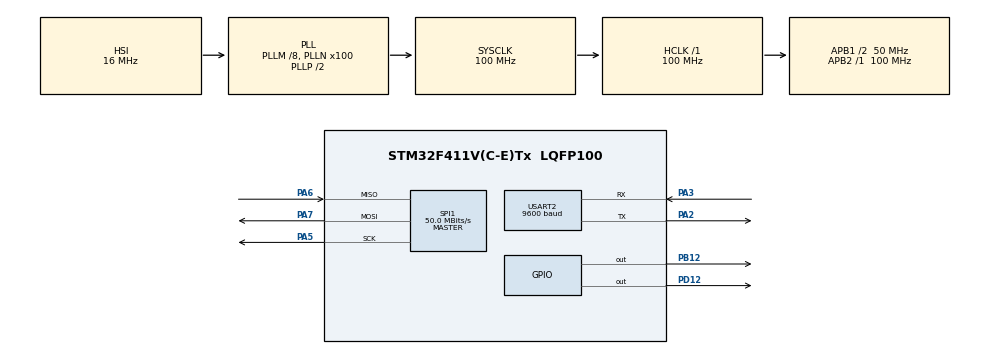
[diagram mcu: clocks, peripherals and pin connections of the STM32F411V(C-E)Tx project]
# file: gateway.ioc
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Mcu.Family=STM32F4
Mcu.Name=STM32F411V(C-E)Tx
Mcu.Package=LQFP100
NVIC.PriorityGroup=NVIC_PRIORITYGROUP_4
PA13.Mode=Trace_Asynchronous_SW
PA13.Signal=SYS_JTMS-SWDIO
PA14.Mode=Trace_Asynchronous_SW
PA14.Signal=SYS_JTCK-SWCLK
PA2.Mode=Asynchronous
PA2.Signal=USART2_TX
PA3.Mode=Asynchronous
PA3.Signal=USART2_RX
PA5.Mode=Full_Duplex_Master
PA5.Signal=SPI1_SCK
PA6.Mode=Full_Duplex_Master
PA6.Signal=SPI1_MISO
PA7.Mode=Full_Duplex_Master
PA7.Signal=SPI1_MOSI
PB12.Signal=GPIO_Output
PB3.Mode=Trace_Asynchronous_SW
PB3.Signal=SYS_JTDO-SWO
PD12.Signal=GPIO_Output
PH0\ -\ OSC_IN.Mode=HSE-External-Oscillator
PH0\ -\ OSC_IN.Signal=RCC_OSC_IN
PH1\ -\ OSC_OUT.Mode=HSE-External-Oscillator
PH1\ -\ OSC_OUT.Signal=RCC_OSC_OUT
ProjectManager.HeapSize=0x200
ProjectManager.StackSize=0x400
ProjectManager.TargetToolchain=STM32CubeIDE
RCC.48MHZClocksFreq_Value=50000000
RCC.AHBFreq_Value=100000000
RCC.APB1CLKDivider=RCC_HCLK_DIV2
RCC.APB1Freq_Value=50000000
RCC.APB1TimFreq_Value=100000000
RCC.APB2Freq_Value=100000000
RCC.APB2TimFreq_Value=100000000
RCC.CortexFreq_Value=100000000
RCC.HCLKFreq_Value=100000000
RCC.HSE_VALUE=8000000
RCC.HSI_VALUE=16000000
RCC.LSE_VALUE=32768
RCC.PLLM=8
RCC.PLLN=100
RCC.SYSCLKFreq_VALUE=100000000
RCC.SYSCLKSource=RCC_SYSCLKSOURCE_PLLCLK
RCC.VCOOutputFreq_Value=200000000
SPI1.CalculateBaudRate=50.0 MBits/s
SPI1.Direction=SPI_DIRECTION_2LINES
SPI1.Mode=SPI_MODE_MASTER
SPI1.VirtualType=VM_MASTER
USART2.BaudRate=9600
USART2.VirtualMode=VM_ASYNC
board=custom

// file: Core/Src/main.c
/* USER CODE BEGIN Header */
/**
  ******************************************************************************
  * @file           : main.c
  * @brief          : Main program body
  ******************************************************************************
  * @attention
  *
  * Copyright (c) 2024 STMicroelectronics.
  * All rights reserved.
  *
  * This software is licensed under terms that can be found in the LICENSE file
  * in the root directory of this software component.
  * If no LICENSE file comes with this software, it is provided AS-IS.
  *
  ******************************************************************************
  */
/* USER CODE END Header */
#include "main.h"

/* USER CODE BEGIN Includes */
#include <stdio.h>
#include <string.h>
#include "socket.h"
#include "wizchip_conf.h"
/* USER CODE END Includes */

SPI_HandleTypeDef hspi1;

UART_HandleTypeDef huart2;

void SystemClock_Config(void);
static void MX_GPIO_Init(void);
static void MX_SPI1_Init(void);
static void MX_USART2_UART_Init(void);

/* USER CODE BEGIN 0 */

void cs_sel() {
	HAL_GPIO_WritePin(GPIOD, GPIO_PIN_12, GPIO_PIN_RESET); //CS LOW
	// printf("\t-----start----- \n");
}

void cs_desel() {
	HAL_GPIO_WritePin(GPIOD, GPIO_PIN_12, GPIO_PIN_SET); //CS HIGH
	// printf("\t-----end----- \n");
}

uint8_t spi_rb(void) {
	uint8_t rbuf;
	HAL_SPI_Receive(&hspi1, &rbuf, 1, HAL_MAX_DELAY);
	printf("\t%s: <- 0x%.2x \n", __FUNCTION__, rbuf);
	return rbuf;
}

void spi_wb(uint8_t b) {
	HAL_SPI_Transmit(&hspi1, &b, 1, HAL_MAX_DELAY);
	printf("\t%s: -> 0x%.2x \n", __FUNCTION__, b);
}

int __io_putchar(uint8_t ch) {
    return ITM_SendChar(ch);
}
/* USER CODE END 0 */

int main(void)
{

  /* MCU Configuration--------------------------------------------------------*/

  /* Reset of all peripherals, Initializes the Flash interface and the Systick. */
  HAL_Init();

  /* Configure the system clock */
  SystemClock_Config();

  /* USER CODE BEGIN SysInit */
  uint8_t bufSize[] = {2, 2, 2, 2};
  int8_t retVal = 0;

  /* USER CODE END SysInit */

  /* Initialize all configured peripherals */
  MX_GPIO_Init();
  MX_SPI1_Init();
  MX_USART2_UART_Init();
  /* USER CODE BEGIN 2 */
  HAL_Delay(100);
  printf("====================================================\r\n");
  printf("Welcome to STM32F4 Discovery Ethernet demonstration\r\n");
  printf("===================================================\r\n");

  reg_wizchip_cs_cbfunc(cs_sel, cs_desel);
  reg_wizchip_spi_cbfunc(spi_rb, spi_wb);
  retVal = wizchip_init(bufSize, bufSize);

  printf("Getting IP ");
  wiz_NetInfo netInfo = { .mac 	= {0x00, 0x08, 0xdc, 0xab, 0xcd, 0xef},	// Mac address
  	                          .ip 	= {192, 168, 2, 3},					    // IP address
  	                          .sn 	= {255, 255, 255, 0},					// Subnet mask
  	                          .gw 	= {192, 168, 2, 1}                      // Gateway address
  	  	  	  	  	  	  	};
  wiz_NetInfo netInfoGet = {0};
  do
  {
	  //printf(".");
	  wizchip_setnetinfo(&netInfo);
	  wizchip_getnetinfo(&netInfoGet);
	  HAL_Delay(1000);
  } while(netInfoGet.ip[0] == 0 && netInfoGet.ip[1] == 0 && netInfoGet.ip[2] == 0 && netInfoGet.ip[3] == 0);
  //printf("OK \r\n");
  printf("  MAC ADDRESS: %x:%x:%x:%x:%x:%x\r\n",
  		  	  	  	  	  	  	  	  	  	  netInfo.mac[0], netInfo.mac[1], netInfo.mac[2],
  											  netInfo.mac[3], netInfo.mac[4], netInfo.mac[5]);
  printf("  IP ADDRESS:  %d.%d.%d.%d\r\n", netInfo.ip[0], netInfo.ip[1], netInfo.ip[2], netInfo.ip[3]);
  while(1)
  {
	  if((retVal = socket(0, Sn_MR_TCP, 5000, 0)) == 0) {
		  uint8_t destip[4] = 	{192, 168, 2, 2};
	  	printf("connect to %d.%d.%d.%d: ", destip[0], destip[1], destip[2], destip[3]);
	  	retVal = connect(0, destip, 1234);
	  	if(retVal == SOCK_OK)
	  	{
	  		printf("OK\r\n");
	  		uint8_t msg[] = "hello server";
	  		retVal = send(0, msg, sizeof(msg)-1);
	  		if(retVal == sizeof(msg)-1)
	  		{
	  			printf("send \"%s\" to server successful \r\n", msg);
	  		}
	  		while(1)
	  		{
	  			memset(msg, 0, sizeof(msg));
	  			retVal = recv(0, msg, sizeof(msg));
	  			if(retVal > 0)
	  			{
	  				HAL_UART_Transmit(&huart2, msg, sizeof(msg) - 1, HAL_MAX_DELAY);
	  				printf("data from server: %s \r\n", msg);
	  			}
	  			else
	  			{
	  				printf("Socket error: %d \r\n", retVal);
	  				break;
	  			}
	  		}
	  	}
	  	close(0);
	  	printf(".");
	  	HAL_Delay(3000);
	  }
  }

  printf("Demonstration finish.! \r\n");
  /* USER CODE END 2 */

  /* Infinite loop */
  /* USER CODE BEGIN WHILE */
  while (1)
  {
	  HAL_Delay(1000);
    /* USER CODE END WHILE */

  }
}

void SystemClock_Config(void)
{
  RCC_OscInitTypeDef RCC_OscInitStruct = {0};
  RCC_ClkInitTypeDef RCC_ClkInitStruct = {0};

  /** Configure the main internal regulator output voltage
  */
  __HAL_RCC_PWR_CLK_ENABLE();
  __HAL_PWR_VOLTAGESCALING_CONFIG(PWR_REGULATOR_VOLTAGE_SCALE1);

  /** Initializes the RCC Oscillators according to the specified parameters
  * in the RCC_OscInitTypeDef structure.
  */
  RCC_OscInitStruct.OscillatorType = RCC_OSCILLATORTYPE_HSI;
  RCC_OscInitStruct.HSIState = RCC_HSI_ON;
  RCC_OscInitStruct.HSICalibrationValue = RCC_HSICALIBRATION_DEFAULT;
  RCC_OscInitStruct.PLL.PLLState = RCC_PLL_ON;
  RCC_OscInitStruct.PLL.PLLSource = RCC_PLLSOURCE_HSI;
  RCC_OscInitStruct.PLL.PLLM = 8;
  RCC_OscInitStruct.PLL.PLLN = 100;
  RCC_OscInitStruct.PLL.PLLP = RCC_PLLP_DIV2;
  RCC_OscInitStruct.PLL.PLLQ = 4;
  if (HAL_RCC_OscConfig(&RCC_OscInitStruct) != HAL_OK)
  {
    Error_Handler();
  }

  /** Initializes the CPU, AHB and APB buses clocks
  */
  RCC_ClkInitStruct.ClockType = RCC_CLOCKTYPE_HCLK|RCC_CLOCKTYPE_SYSCLK
                              |RCC_CLOCKTYPE_PCLK1|RCC_CLOCKTYPE_PCLK2;
  RCC_ClkInitStruct.SYSCLKSource = RCC_SYSCLKSOURCE_PLLCLK;
  RCC_ClkInitStruct.AHBCLKDivider = RCC_SYSCLK_DIV1;
  RCC_ClkInitStruct.APB1CLKDivider = RCC_HCLK_DIV2;
  RCC_ClkInitStruct.APB2CLKDivider = RCC_HCLK_DIV1;

  if (HAL_RCC_ClockConfig(&RCC_ClkInitStruct, FLASH_LATENCY_3) != HAL_OK)
  {
    Error_Handler();
  }
}

static void MX_SPI1_Init(void)
{

  /* SPI1 parameter configuration*/
  hspi1.Instance = SPI1;
  hspi1.Init.Mode = SPI_MODE_MASTER;
  hspi1.Init.Direction = SPI_DIRECTION_2LINES;
  hspi1.Init.DataSize = SPI_DATASIZE_8BIT;
  hspi1.Init.CLKPolarity = SPI_POLARITY_LOW;
  hspi1.Init.CLKPhase = SPI_PHASE_1EDGE;
  hspi1.Init.NSS = SPI_NSS_SOFT;
  hspi1.Init.BaudRatePrescaler = SPI_BAUDRATEPRESCALER_2;
  hspi1.Init.FirstBit = SPI_FIRSTBIT_MSB;
  hspi1.Init.TIMode = SPI_TIMODE_DISABLE;
  hspi1.Init.CRCCalculation = SPI_CRCCALCULATION_DISABLE;
  hspi1.Init.CRCPolynomial = 10;
  if (HAL_SPI_Init(&hspi1) != HAL_OK)
  {
    Error_Handler();
  }

}

static void MX_USART2_UART_Init(void)
{

  huart2.Instance = USART2;
  huart2.Init.BaudRate = 9600;
  huart2.Init.WordLength = UART_WORDLENGTH_8B;
  huart2.Init.StopBits = UART_STOPBITS_1;
  huart2.Init.Parity = UART_PARITY_NONE;
  huart2.Init.Mode = UART_MODE_TX_RX;
  huart2.Init.HwFlowCtl = UART_HWCONTROL_NONE;
  huart2.Init.OverSampling = UART_OVERSAMPLING_16;
  if (HAL_UART_Init(&huart2) != HAL_OK)
  {
    Error_Handler();
  }

}

static void MX_GPIO_Init(void)
{
  GPIO_InitTypeDef GPIO_InitStruct = {0};

  /* GPIO Ports Clock Enable */
  __HAL_RCC_GPIOH_CLK_ENABLE();
  __HAL_RCC_GPIOA_CLK_ENABLE();
  __HAL_RCC_GPIOB_CLK_ENABLE();
  __HAL_RCC_GPIOD_CLK_ENABLE();

  /*Configure GPIO pin Output Level */
  HAL_GPIO_WritePin(GPIOB, GPIO_PIN_12, GPIO_PIN_RESET);

  /*Configure GPIO pin Output Level */
  HAL_GPIO_WritePin(GPIOD, GPIO_PIN_12, GPIO_PIN_RESET);

  /*Configure GPIO pin : PB12 */
  GPIO_InitStruct.Pin = GPIO_PIN_12;
  GPIO_InitStruct.Mode = GPIO_MODE_OUTPUT_PP;
  GPIO_InitStruct.Pull = GPIO_NOPULL;
  GPIO_InitStruct.Speed = GPIO_SPEED_FREQ_LOW;
  HAL_GPIO_Init(GPIOB, &GPIO_InitStruct);

  /*Configure GPIO pin : PD12 */
  GPIO_InitStruct.Pin = GPIO_PIN_12;
  GPIO_InitStruct.Mode = GPIO_MODE_OUTPUT_PP;
  GPIO_InitStruct.Pull = GPIO_NOPULL;
  GPIO_InitStruct.Speed = GPIO_SPEED_FREQ_LOW;
  HAL_GPIO_Init(GPIOD, &GPIO_InitStruct);

}

void Error_Handler(void)
{
  __disable_irq();
  while (1)
  {
  }
}
